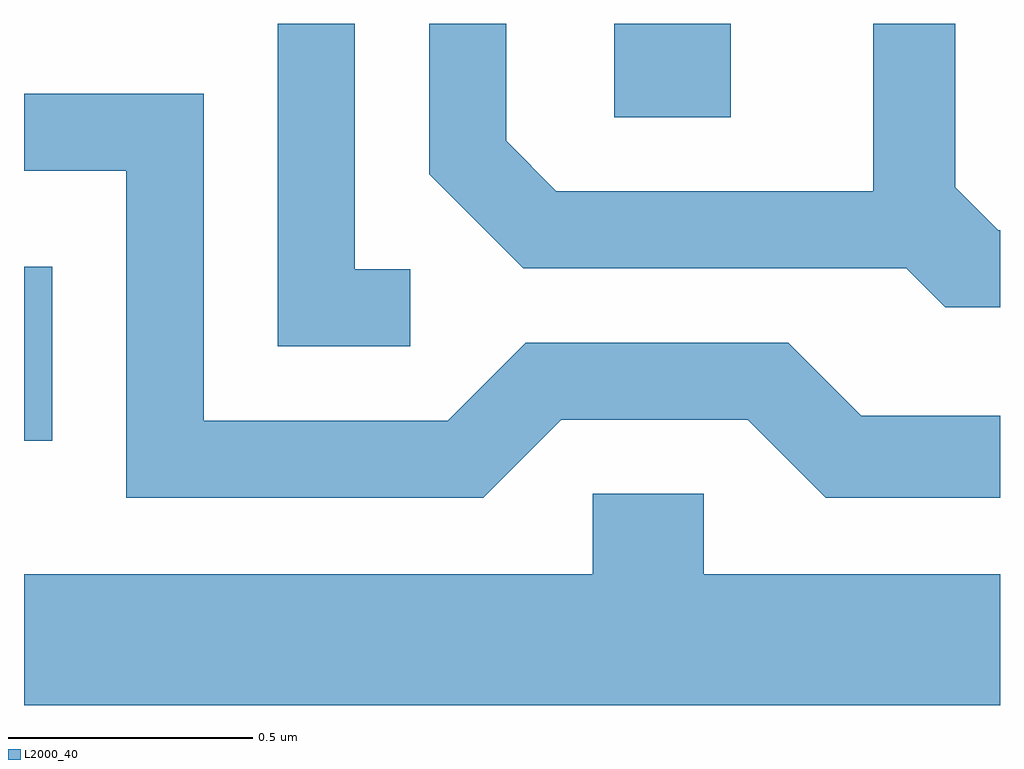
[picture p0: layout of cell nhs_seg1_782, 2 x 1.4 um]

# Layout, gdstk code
import gdstk
lib = gdstk.Library(unit=1e-6, precision=1e-09)
def R(c, l, rs):  # rectangles x0, y0, x1, y1
    for r in rs: c.add(gdstk.rectangle(r[:2], r[2:], *l))
def P(c, l, *ps):  # polygons
    for p in ps: c.add(gdstk.Polygon(p, *l))
L2000_40 = (2000, 40)

nhs_seg1_782 = lib.new_cell('nhs_seg1_782')
R(nhs_seg1_782, L2000_40, [(190.611,937.858,190.669,938.214), (191.821,938.521,192.059,938.712)])
P(nhs_seg1_782, L2000_40, [(191.403,938.209),(191.289,938.209),(191.289,938.712),(191.131,938.712),(191.131,938.051),(191.403,938.051)],
  [(192.611,938.289),(192.607,938.289),(192.519,938.377),(192.519,938.712),(192.351,938.712),(192.351,938.369),(191.702,938.369),(191.599,938.472),(191.599,938.712),(191.441,938.712),(191.441,938.404),(191.634,938.211),(192.419,938.211),(192.499,938.131),(192.611,938.131)],
  [(191.712,937.901),(192.094,937.901),(192.254,937.741),(192.611,937.741),(192.611,937.909),(192.327,937.909),(192.177,938.059),(191.639,938.059),(191.479,937.899),(190.979,937.899),(190.979,938.569),(190.611,938.569),(190.611,938.411),(190.821,938.411),(190.821,937.741),(191.552,937.741)],
  [(192.611,937.584),(192.004,937.584),(192.004,937.749),(191.776,937.749),(191.776,937.584),(190.611,937.584),(190.611,937.316),(192.611,937.316)])

lib.write_gds('nhs_seg1_782.gds')
